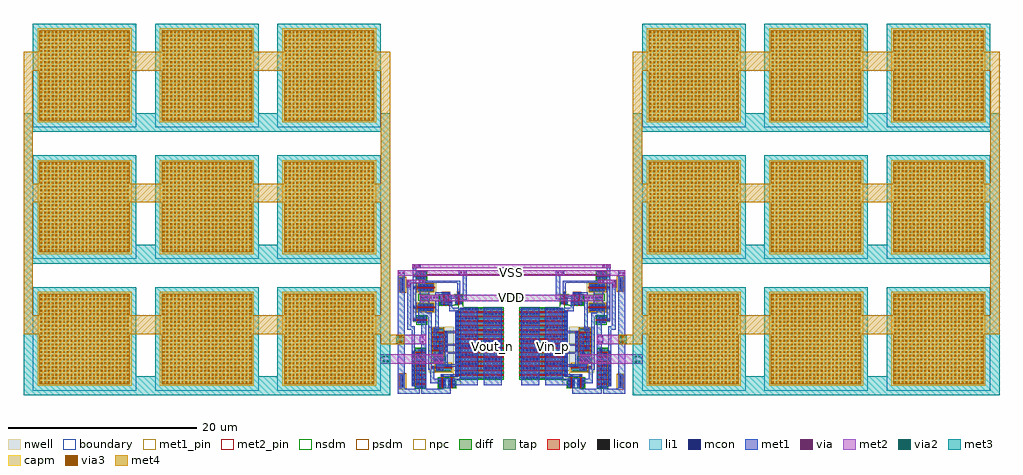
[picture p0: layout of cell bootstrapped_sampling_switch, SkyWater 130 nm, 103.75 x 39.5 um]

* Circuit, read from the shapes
.subckt bootstrapped_sampling_switch Clk VDD VSS Vin_n Vin_p Vout_n Vout_p
XM1 VSS n1 n2 VSS sky130_fd_pr__nfet_01v8 w=0.91 l=0.15 m=8
XM2 n3 Clk n2 VSS sky130_fd_pr__nfet_01v8 w=0.91 l=0.15
XM3 VSS Clk n1 VSS sky130_fd_pr__nfet_01v8 w=0.91 l=0.15
XM4 n2 n4 n3 VSS sky130_fd_pr__nfet_01v8 w=0.91 l=0.15
XM5 n5 VDD n4 VSS sky130_fd_pr__nfet_01v8 w=0.91 l=0.15 m=2
XM6 Vin_n n4 n2 VSS sky130_fd_pr__nfet_01v8 w=0.91 l=0.15
XM7 VSS n1 n5 VSS sky130_fd_pr__nfet_01v8 w=0.91 l=0.15
XM8 Vin_n n4 Vout_n VSS sky130_fd_pr__nfet_01v8 w=4.55 l=0.15 m=15
XM9 Vin_p n6 Vout_p VSS sky130_fd_pr__nfet_01v8 w=4.55 l=0.15 m=15
XM10 n7 n8 VSS VSS sky130_fd_pr__nfet_01v8 w=0.91 l=0.15
XM11 n9 n6 Vin_p VSS sky130_fd_pr__nfet_01v8 w=0.91 l=0.15
XM12 n7 VDD n6 VSS sky130_fd_pr__nfet_01v8 w=0.91 l=0.15 m=2
XM13 n10 n6 n9 VSS sky130_fd_pr__nfet_01v8 w=0.91 l=0.15
XM14 n10 Clk n9 VSS sky130_fd_pr__nfet_01v8 w=0.91 l=0.15
XM15 VSS Clk n8 VSS sky130_fd_pr__nfet_01v8 w=0.91 l=0.15
XM16 VSS n8 n9 VSS sky130_fd_pr__nfet_01v8 w=0.91 l=0.15 m=8
XM17 VDD Clk n3 VDD sky130_fd_pr__pfet_01v8 w=1.61 l=0.15
XM18 n1 Clk VDD VDD sky130_fd_pr__pfet_01v8 w=1.61 l=0.15
XM19 VDD n4 n11 n11 sky130_fd_pr__pfet_01v8 w=1 l=0.15 m=5
XM20 n4 n3 n11 n11 sky130_fd_pr__pfet_01v8 w=1.61 l=0.15
XM21 n6 n10 n12 n12 sky130_fd_pr__pfet_01v8 w=1.61 l=0.15
XM22 VDD n6 n12 n12 sky130_fd_pr__pfet_01v8 w=1 l=0.15 m=5
XM23 VDD Clk n10 VDD sky130_fd_pr__pfet_01v8 w=1.61 l=0.15
XM24 n8 Clk VDD VDD sky130_fd_pr__pfet_01v8 w=1.61 l=0.15
XC25 n2 n11 sky130_fd_pr__cap_mim_m3_1 w=10 l=10 m=9
XC26 n9 n12 sky130_fd_pr__cap_mim_m3_1 w=10 l=10 m=9
.ends

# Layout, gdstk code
from math import pi, radians
import gdstk
lib = gdstk.Library(unit=1e-6, precision=1e-09)
def R(c, l, rs):  # rectangles x0, y0, x1, y1
    for r in rs: c.add(gdstk.rectangle(r[:2], r[2:], *l))
def A(c, l, x, y, w, h, nx, ny, dx, dy):  # array of equal rectangles
    R(c, l, [(x+i*dx, y+j*dy, x+i*dx+w, y+j*dy+h) for i in range(nx) for j in range(ny)])
nwell = (64, 20)
diff = (65, 20)
tap = (65, 44)
poly = (66, 20)
licon = (66, 44)
li1 = (67, 20)
mcon = (67, 44)
met1_pin = (68, 16)
met1 = (68, 20)
via = (68, 44)
met2_pin = (69, 16)
met2 = (69, 20)
via2 = (69, 44)
met3 = (70, 20)
via3 = (70, 44)
met4 = (71, 20)
capm = (89, 44)
nsdm = (93, 44)
psdm = (94, 20)
npc = (95, 20)
boundary = (235, 4)

sky130_fd_pr__pfet_01v8_ = lib.new_cell('sky130_fd_pr__pfet_01v8_SKSN8V')
R(sky130_fd_pr__pfet_01v8_, nwell, [(-0.545,-1.295,0.545,1.125)])
R(sky130_fd_pr__pfet_01v8_, diff, [(-0.365,-0.985,0.365,0.625)])
R(sky130_fd_pr__pfet_01v8_, poly, [(-0.075,-1.115,0.075,0.78), (-0.165,0.78,0.165,1.11)])
A(sky130_fd_pr__pfet_01v8_, licon, -0.305, -0.775, 0.17, 0.17, 1, 4, 0, 0.34)
A(sky130_fd_pr__pfet_01v8_, licon, 0.135, -0.775, 0.17, 0.17, 1, 4, 0, 0.34)
R(sky130_fd_pr__pfet_01v8_, licon, [(-0.085,0.86,0.085,1.03)])
R(sky130_fd_pr__pfet_01v8_, li1, [(-0.305,-1.005,-0.135,0.645), (0.135,-1.005,0.305,0.645), (-0.165,0.86,0.165,1.03)])
R(sky130_fd_pr__pfet_01v8_, mcon, [(-0.305,-0.705,-0.135,-0.535), (0.135,0.17,0.305,0.34), (-0.085,0.86,0.085,1.03)])
R(sky130_fd_pr__pfet_01v8_, met1, [(-0.335,-0.9,-0.105,-0.335), (0.105,-0.025,0.335,0.54), (-0.145,0.83,0.145,1.06)])
R(sky130_fd_pr__pfet_01v8_, psdm, [(-0.49,-1.11,0.49,0.75)])
R(sky130_fd_pr__pfet_01v8_, npc, [(-0.185,0.76,0.185,1.13)])

c_sky130_fd_pr__pfet_01v8_ = lib.new_cell('sky130_fd_pr__pfet_01v8_RQ978N')
R(c_sky130_fd_pr__pfet_01v8_, nwell, [(-1.525,-1,1.525,0.8)])
R(c_sky130_fd_pr__pfet_01v8_, diff, [(-1.345,-0.5,1.345,0.5)])
A(c_sky130_fd_pr__pfet_01v8_, poly, -1.035, -0.65, 0.15, 1.3, 5, 1, 0.48, 0)
R(c_sky130_fd_pr__pfet_01v8_, poly, [(-1.125,-0.985,1.125,-0.65)])
A(c_sky130_fd_pr__pfet_01v8_, licon, -1.285, -0.425, 0.17, 0.17, 6, 3, 0.48, 0.34)
R(c_sky130_fd_pr__pfet_01v8_, licon, [(-1.045,-0.905,-0.875,-0.735), (-0.555,-0.905,-0.385,-0.735), (-0.085,-0.905,0.085,-0.735), (0.425,-0.905,0.595,-0.735), (0.875,-0.905,1.045,-0.735)])
A(c_sky130_fd_pr__pfet_01v8_, li1, -1.285, -0.52, 0.17, 1.04, 6, 1, 0.48, 0)
R(c_sky130_fd_pr__pfet_01v8_, li1, [(-1.125,-0.905,1.125,-0.735)])
A(c_sky130_fd_pr__pfet_01v8_, mcon, -0.805, -0.31, 0.17, 0.17, 3, 1, 0.96, 0)
A(c_sky130_fd_pr__pfet_01v8_, mcon, -1.285, 0.135, 0.17, 0.17, 3, 1, 0.96, 0)
R(c_sky130_fd_pr__pfet_01v8_, mcon, [(-1.045,-0.905,-0.875,-0.735), (-0.555,-0.905,-0.385,-0.735), (-0.085,-0.905,0.085,-0.735), (0.425,-0.905,0.595,-0.735), (0.875,-0.905,1.045,-0.735)])
A(c_sky130_fd_pr__pfet_01v8_, met1, -0.835, -0.415, 0.23, 0.385, 3, 1, 0.96, 0)
A(c_sky130_fd_pr__pfet_01v8_, met1, -1.315, 0.03, 0.23, 0.385, 3, 1, 0.96, 0)
R(c_sky130_fd_pr__pfet_01v8_, met1, [(-1.105,-0.935,1.105,-0.705)])
R(c_sky130_fd_pr__pfet_01v8_, psdm, [(-1.47,-0.625,1.47,0.625)])
R(c_sky130_fd_pr__pfet_01v8_, npc, [(-1.145,-1.005,1.145,-0.635)])

c_sky130_fd_pr__pfet_01v8__ = lib.new_cell('sky130_fd_pr__pfet_01v8_E9NJWS')
R(c_sky130_fd_pr__pfet_01v8__, nwell, [(-0.545,-1.125,0.545,1.295)])
R(c_sky130_fd_pr__pfet_01v8__, diff, [(-0.365,-0.625,0.365,0.985)])
R(c_sky130_fd_pr__pfet_01v8__, poly, [(-0.165,-1.11,0.165,-0.78), (-0.075,-0.78,0.075,1.115)])
A(c_sky130_fd_pr__pfet_01v8__, licon, -0.305, -0.415, 0.17, 0.17, 1, 4, 0, 0.34)
A(c_sky130_fd_pr__pfet_01v8__, licon, 0.135, -0.415, 0.17, 0.17, 1, 4, 0, 0.34)
R(c_sky130_fd_pr__pfet_01v8__, licon, [(-0.085,-1.03,0.085,-0.86)])
R(c_sky130_fd_pr__pfet_01v8__, li1, [(-0.165,-1.03,0.165,-0.86), (-0.305,-0.645,-0.135,1.005), (0.135,-0.645,0.305,1.005)])
A(c_sky130_fd_pr__pfet_01v8__, mcon, -0.305, -0.445, 0.17, 0.17, 1, 4, 0, 0.36)
A(c_sky130_fd_pr__pfet_01v8__, mcon, 0.135, -0.445, 0.17, 0.17, 1, 4, 0, 0.36)
R(c_sky130_fd_pr__pfet_01v8__, mcon, [(-0.085,-1.03,0.085,-0.86)])
R(c_sky130_fd_pr__pfet_01v8__, met1, [(-0.145,-1.06,0.145,-0.83), (-0.335,-0.625,-0.105,0.985), (0.105,-0.625,0.335,0.985)])
R(c_sky130_fd_pr__pfet_01v8__, psdm, [(-0.49,-0.75,0.49,1.11)])
R(c_sky130_fd_pr__pfet_01v8__, npc, [(-0.185,-1.13,0.185,-0.76)])

sky130_fd_pr__nfet_01v8_ = lib.new_cell('sky130_fd_pr__nfet_01v8_ZWFJZ8')
R(sky130_fd_pr__nfet_01v8_, diff, [(-0.625,-0.455,0.625,0.455)])
R(sky130_fd_pr__nfet_01v8_, poly, [(-0.425,-0.895,0.475,-0.565), (-0.315,-0.565,-0.165,0.605), (0.165,-0.565,0.315,0.605)])
A(sky130_fd_pr__nfet_01v8_, licon, -0.565, -0.255, 0.17, 0.17, 3, 2, 0.48, 0.34)
R(sky130_fd_pr__nfet_01v8_, licon, [(-0.325,-0.815,-0.155,-0.645), (0.125,-0.815,0.295,-0.645)])
A(sky130_fd_pr__nfet_01v8_, li1, -0.565, -0.475, 0.17, 0.95, 3, 1, 0.48, 0)
R(sky130_fd_pr__nfet_01v8_, li1, [(-0.425,-0.815,0.475,-0.645)])
R(sky130_fd_pr__nfet_01v8_, mcon, [(-0.325,-0.815,-0.155,-0.645), (0.125,-0.815,0.295,-0.645), (-0.085,-0.28,0.085,-0.11), (-0.565,0.105,-0.395,0.275), (0.395,0.105,0.565,0.275)])
R(sky130_fd_pr__nfet_01v8_, met1, [(-0.425,-0.845,0.475,-0.615), (-0.115,-0.37,0.115,-0.015), (-0.595,0.015,-0.365,0.37), (0.365,0.015,0.595,0.37)])
R(sky130_fd_pr__nfet_01v8_, nsdm, [(-0.75,-0.58,0.75,0.58)])
R(sky130_fd_pr__nfet_01v8_, npc, [(-0.425,-0.915,0.395,-0.545)])

c_sky130_fd_pr__nfet_01v8_ = lib.new_cell('sky130_fd_pr__nfet_01v8_P7BBP7')
R(c_sky130_fd_pr__nfet_01v8_, diff, [(-3.745,-2.275,3.745,2.275)])
A(c_sky130_fd_pr__nfet_01v8_, poly, -3.435, -2.38, 0.15, 4.8, 15, 1, 0.48, 0)
R(c_sky130_fd_pr__nfet_01v8_, poly, [(-3.54,-2.715,3.525,-2.38)])
A(c_sky130_fd_pr__nfet_01v8_, licon, -3.685, -2.125, 0.17, 0.17, 16, 13, 0.48, 0.34)
R(c_sky130_fd_pr__nfet_01v8_, licon, [(-3.445,-2.635,-3.275,-2.465), (-2.97,-2.635,-2.8,-2.465), (-2.485,-2.635,-2.315,-2.465), (-1.97,-2.635,-1.8,-2.465), (-1.525,-2.635,-1.355,-2.465), (-1.02,-2.635,-0.85,-2.465), (-0.565,-2.635,-0.395,-2.465), (-0.07,-2.635,0.1,-2.465), (0.395,-2.635,0.565,-2.465), (0.88,-2.635,1.05,-2.465), (1.355,-2.635,1.525,-2.465), (1.875,-2.635,2.045,-2.465), (2.315,-2.635,2.485,-2.465), (2.825,-2.635,2.995,-2.465), (3.275,-2.635,3.445,-2.465)])
A(c_sky130_fd_pr__nfet_01v8_, li1, -3.685, -2.295, 0.17, 4.59, 16, 1, 0.48, 0)
R(c_sky130_fd_pr__nfet_01v8_, li1, [(-3.54,-2.635,3.525,-2.465)])
A(c_sky130_fd_pr__nfet_01v8_, mcon, -3.685, -2.05, 0.17, 0.17, 8, 5, 0.96, 0.36)
A(c_sky130_fd_pr__nfet_01v8_, mcon, -3.205, 0.44, 0.17, 0.17, 8, 5, 0.96, 0.36)
R(c_sky130_fd_pr__nfet_01v8_, mcon, [(-3.445,-2.635,-3.275,-2.465), (-2.97,-2.635,-2.8,-2.465), (-2.485,-2.635,-2.315,-2.465), (-1.97,-2.635,-1.8,-2.465), (-1.525,-2.635,-1.355,-2.465), (-1.02,-2.635,-0.85,-2.465), (-0.565,-2.635,-0.395,-2.465), (-0.07,-2.635,0.1,-2.465), (0.395,-2.635,0.565,-2.465), (0.88,-2.635,1.05,-2.465), (1.355,-2.635,1.525,-2.465), (1.875,-2.635,2.045,-2.465), (2.315,-2.635,2.485,-2.465), (2.825,-2.635,2.995,-2.465), (3.275,-2.635,3.445,-2.465)])
A(c_sky130_fd_pr__nfet_01v8_, met1, -3.715, -2.19, 0.23, 1.89, 8, 1, 0.96, 0)
A(c_sky130_fd_pr__nfet_01v8_, met1, -3.235, 0.3, 0.23, 1.89, 8, 1, 0.96, 0)
R(c_sky130_fd_pr__nfet_01v8_, met1, [(-3.54,-2.665,3.505,-2.435)])
R(c_sky130_fd_pr__nfet_01v8_, nsdm, [(-3.87,-2.4,3.87,2.4)])
R(c_sky130_fd_pr__nfet_01v8_, npc, [(-3.545,-2.735,3.545,-2.365)])

c_sky130_fd_pr__nfet_01v8__ = lib.new_cell('sky130_fd_pr__nfet_01v8_MRUJZ4')
R(c_sky130_fd_pr__nfet_01v8__, diff, [(-2.065,-0.455,2.065,0.455)])
A(c_sky130_fd_pr__nfet_01v8__, poly, -1.755, -0.565, 0.15, 1.17, 8, 1, 0.48, 0)
R(c_sky130_fd_pr__nfet_01v8__, poly, [(-1.885,-0.895,1.915,-0.565)])
A(c_sky130_fd_pr__nfet_01v8__, licon, -1.765, -0.815, 0.17, 0.17, 3, 1, 0.48, 0)
A(c_sky130_fd_pr__nfet_01v8__, licon, -2.005, -0.255, 0.17, 0.17, 9, 2, 0.48, 0.34)
R(c_sky130_fd_pr__nfet_01v8__, licon, [(-0.335,-0.815,-0.165,-0.645), (0.155,-0.815,0.325,-0.645), (0.615,-0.815,0.785,-0.645), (1.115,-0.815,1.285,-0.645), (1.565,-0.815,1.735,-0.645)])
A(c_sky130_fd_pr__nfet_01v8__, li1, -2.005, -0.475, 0.17, 0.95, 9, 1, 0.48, 0)
R(c_sky130_fd_pr__nfet_01v8__, li1, [(-1.885,-0.815,1.915,-0.645)])
A(c_sky130_fd_pr__nfet_01v8__, mcon, -1.765, -0.815, 0.17, 0.17, 3, 1, 0.48, 0)
A(c_sky130_fd_pr__nfet_01v8__, mcon, -1.525, -0.295, 0.17, 0.17, 4, 1, 0.96, 0)
A(c_sky130_fd_pr__nfet_01v8__, mcon, -2.005, 0.125, 0.17, 0.17, 5, 1, 0.96, 0)
R(c_sky130_fd_pr__nfet_01v8__, mcon, [(-0.335,-0.815,-0.165,-0.645), (0.155,-0.815,0.325,-0.645), (0.615,-0.815,0.785,-0.645), (1.115,-0.815,1.285,-0.645), (1.565,-0.815,1.735,-0.645)])
A(c_sky130_fd_pr__nfet_01v8__, met1, -1.555, -0.37, 0.23, 0.32, 4, 1, 0.96, 0)
A(c_sky130_fd_pr__nfet_01v8__, met1, -2.035, 0.05, 0.23, 0.32, 5, 1, 0.96, 0)
R(c_sky130_fd_pr__nfet_01v8__, met1, [(-1.885,-0.845,1.915,-0.615)])
R(c_sky130_fd_pr__nfet_01v8__, nsdm, [(-2.19,-0.58,2.19,0.58)])
R(c_sky130_fd_pr__nfet_01v8__, npc, [(-1.865,-0.915,1.835,-0.545)])

c_sky130_fd_pr__nfet_01v8___ = lib.new_cell('sky130_fd_pr__nfet_01v8_9CME3F')
R(c_sky130_fd_pr__nfet_01v8___, diff, [(-0.365,-0.61,0.365,0.3)])
R(c_sky130_fd_pr__nfet_01v8___, poly, [(-0.075,-0.74,0.075,0.41), (-0.165,0.41,0.165,0.74)])
R(c_sky130_fd_pr__nfet_01v8___, licon, [(-0.305,-0.41,-0.135,-0.24), (0.135,-0.41,0.305,-0.24), (-0.305,-0.07,-0.135,0.1), (0.135,-0.07,0.305,0.1), (-0.085,0.49,0.085,0.66)])
R(c_sky130_fd_pr__nfet_01v8___, li1, [(-0.305,-0.63,-0.135,0.32), (0.135,-0.63,0.305,0.32), (-0.165,0.49,0.165,0.66)])
R(c_sky130_fd_pr__nfet_01v8___, mcon, [(-0.305,-0.42,-0.135,-0.25), (0.135,-0.42,0.305,-0.25), (-0.305,-0.06,-0.135,0.11), (0.135,-0.06,0.305,0.11), (-0.085,0.49,0.085,0.66)])
R(c_sky130_fd_pr__nfet_01v8___, met1, [(-0.335,-0.61,-0.105,0.3), (0.105,-0.61,0.335,0.3), (-0.145,0.46,0.145,0.69)])
R(c_sky130_fd_pr__nfet_01v8___, nsdm, [(-0.49,-0.735,0.49,0.425)])
R(c_sky130_fd_pr__nfet_01v8___, npc, [(-0.185,0.39,0.185,0.76)])

c_sky130_fd_pr__nfet_01v8____ = lib.new_cell('sky130_fd_pr__nfet_01v8_9CGS2F')
R(c_sky130_fd_pr__nfet_01v8____, diff, [(-0.365,-0.3,0.365,0.61)])
R(c_sky130_fd_pr__nfet_01v8____, poly, [(-0.165,-0.74,0.165,-0.41), (-0.075,-0.41,0.075,0.74)])
R(c_sky130_fd_pr__nfet_01v8____, licon, [(-0.085,-0.66,0.085,-0.49), (-0.305,-0.1,-0.135,0.07), (0.135,-0.1,0.305,0.07), (-0.305,0.24,-0.135,0.41), (0.135,0.24,0.305,0.41)])
R(c_sky130_fd_pr__nfet_01v8____, li1, [(-0.165,-0.66,0.165,-0.49), (-0.305,-0.32,-0.135,0.63), (0.135,-0.32,0.305,0.63)])
R(c_sky130_fd_pr__nfet_01v8____, mcon, [(-0.085,-0.66,0.085,-0.49), (-0.305,-0.11,-0.135,0.06), (0.135,-0.11,0.305,0.06), (-0.305,0.25,-0.135,0.42), (0.135,0.25,0.305,0.42)])
R(c_sky130_fd_pr__nfet_01v8____, met1, [(-0.145,-0.69,0.145,-0.46), (-0.335,-0.3,-0.105,0.61), (0.105,-0.3,0.335,0.61)])
R(c_sky130_fd_pr__nfet_01v8____, nsdm, [(-0.49,-0.425,0.49,0.735)])
R(c_sky130_fd_pr__nfet_01v8____, npc, [(-0.185,-0.76,0.185,-0.39)])

sky130_fd_pr__cap_mim_m3 = lib.new_cell('sky130_fd_pr__cap_mim_m3_1_6ZNTNB')
R(sky130_fd_pr__cap_mim_m3, met3, [(-5.75,-5.5,5.745,5.5)])
A(sky130_fd_pr__cap_mim_m3, via3, -4.95, -4.7, 0.2, 0.2, 24, 24, 0.4, 0.4)
R(sky130_fd_pr__cap_mim_m3, met4, [(-5.055,-4.805,4.555,4.805)])
R(sky130_fd_pr__cap_mim_m3, capm, [(-5.25,-5,4.75,5)])
R(sky130_fd_pr__cap_mim_m3, boundary, [(-5.75,-5.5,5.25,5.5)])

bootstrapped_sampling_sw = lib.new_cell('bootstrapped_sampling_switch')
R(bootstrapped_sampling_sw, nwell, [(25.1,-23.1,27.75,-18.2), (40,-23.1,42.65,-18.2), (23.45,-16.7,25.9,-13.5), (41.85,-16.7,44.3,-13.5)])
R(bootstrapped_sampling_sw, tap, [(45.2,-24.77,45.7,-23.33), (22.05,-24.72,22.55,-23.28), (25.4,-21.9,26.75,-21.5), (41,-21.9,42.35,-21.5), (24.1,-15.35,25.05,-14.85), (42.7,-15.35,43.65,-14.85), (22.05,-14.47,22.55,-13.03), (45.2,-14.37,45.7,-12.93)])
A(bootstrapped_sampling_sw, licon, 45.365, -24.645, 0.17, 0.17, 1, 4, 0, 0.34)
A(bootstrapped_sampling_sw, licon, 22.215, -24.595, 0.17, 0.17, 1, 4, 0, 0.34)
A(bootstrapped_sampling_sw, licon, 25.65, -21.785, 0.17, 0.17, 3, 1, 0.34, 0)
A(bootstrapped_sampling_sw, licon, 41.25, -21.785, 0.17, 0.17, 3, 1, 0.34, 0)
A(bootstrapped_sampling_sw, licon, 22.215, -14.345, 0.17, 0.17, 1, 4, 0, 0.34)
A(bootstrapped_sampling_sw, licon, 45.365, -14.245, 0.17, 0.17, 1, 4, 0, 0.34)
R(bootstrapped_sampling_sw, licon, [(24.32,-15.185,24.49,-15.015), (24.66,-15.185,24.83,-15.015), (42.92,-15.185,43.09,-15.015), (43.26,-15.185,43.43,-15.015)])
R(bootstrapped_sampling_sw, li1, [(45.2,-24.73,45.7,-23.37), (22.05,-24.68,22.55,-23.32), (25.45,-21.9,26.7,-21.5), (41.05,-21.9,42.3,-21.5), (24.15,-15.35,25,-14.85), (42.75,-15.35,43.6,-14.85), (22.05,-14.43,22.55,-13.07), (45.2,-14.33,45.7,-12.97)])
A(bootstrapped_sampling_sw, mcon, 45.365, -24.495, 0.17, 0.17, 1, 3, 0, 0.36)
A(bootstrapped_sampling_sw, mcon, 22.215, -24.445, 0.17, 0.17, 1, 3, 0, 0.36)
A(bootstrapped_sampling_sw, mcon, 22.215, -14.195, 0.17, 0.17, 1, 3, 0, 0.36)
A(bootstrapped_sampling_sw, mcon, 45.365, -14.095, 0.17, 0.17, 1, 3, 0, 0.36)
R(bootstrapped_sampling_sw, mcon, [(25.81,-21.785,25.98,-21.615), (26.17,-21.785,26.34,-21.615), (41.41,-21.785,41.58,-21.615), (41.77,-21.785,41.94,-21.615), (24.31,-15.185,24.48,-15.015), (24.67,-15.185,24.84,-15.015), (42.91,-15.185,43.08,-15.015), (43.27,-15.185,43.44,-15.015)])
R(bootstrapped_sampling_sw, met1_pin, [(28.45,-24.45,30.3,-16.2), (30.9,-24.45,32.85,-16.2), (34.9,-24.45,36.85,-16.2), (37.45,-24.45,39.3,-16.2)])
R(bootstrapped_sampling_sw, met1, [(21.8,-25.35,24.1,-24.8), (24.3,-25.35,27.4,-24.8), (40.35,-25.35,43.45,-24.8), (43.65,-25.35,45.95,-24.8), (21.8,-24.8,22.55,-12.2), (23.75,-24.8,24.1,-21.05), (24.3,-24.8,24.8,-20.05), (26.65,-24.8,27.4,-23.7), (40.35,-24.8,41.1,-23.7), (42.95,-24.8,43.45,-20.05), (43.65,-24.8,44,-21.05), (45.2,-24.8,45.95,-12.2), (23.25,-24.55,23.6,-18.55), (44.15,-24.55,44.5,-18.55), (27.6,-24.45,30.3,-23.75), (30.9,-24.45,32.85,-16.2), (34.9,-24.45,36.85,-16.2), (37.45,-24.45,40.15,-23.75), (25.25,-24.2,26.4,-23.75), (41.35,-24.2,42.5,-23.75), (25.25,-23.75,25.65,-22.8), (28.45,-23.75,30.3,-16.2), (37.45,-23.75,39.3,-16.2), (42.1,-23.75,42.5,-22.8), (26.35,-23.55,28.25,-23.25), (39.5,-23.55,41.4,-23.25), (27.9,-23.25,28.25,-22.45), (39.5,-23.25,39.85,-22.45), (25.9,-22.9,26.6,-22.15), (41.15,-22.9,41.85,-22.15), (25.05,-22.8,25.65,-22.35), (42.1,-22.8,42.7,-22.35), (26.8,-22.45,28.25,-22.2), (39.5,-22.45,40.95,-22.2), (25.05,-22.35,25.4,-17.1), (42.35,-22.35,42.7,-17.1), (26.8,-22.2,27.1,-21.1), (27.9,-22.2,28.25,-21.1), (39.5,-22.2,39.85,-21.1), (40.65,-22.2,40.95,-21.1), (25.55,-22.15,26.6,-21.15), (41.15,-22.15,42.2,-21.15), (26.1,-21.15,26.6,-21.05), (41.15,-21.15,41.65,-21.05), (26.8,-21.1,28.25,-20.85), (39.5,-21.1,40.95,-20.85), (26.21,-21.05,26.6,-18.95), (41.15,-21.05,41.54,-18.95), (26.8,-20.85,27.1,-20.25), (27.9,-20.85,28.25,-20.25), (39.5,-20.85,39.85,-20.25), (40.65,-20.85,40.95,-20.25), (25.6,-20.6,25.95,-18.65), (41.8,-20.6,42.15,-18.65), (26.8,-20.25,28.25,-20), (39.5,-20.25,40.95,-20), (24.1,-20.05,24.8,-19.05), (42.95,-20.05,43.65,-19.05), (26.8,-20,27.1,-18.9), (27.9,-20,28.25,-18.9), (39.5,-20,39.85,-18.9), (40.65,-20,40.95,-18.9), (24.3,-19.05,24.8,-17.6), (42.95,-19.05,43.45,-17.6), (26.8,-18.9,28.25,-18.65), (39.5,-18.9,40.95,-18.65), (25.6,-18.65,26.15,-18.3), (27.9,-18.65,28.25,-16.55), (39.5,-18.65,39.85,-16.55), (41.6,-18.65,42.15,-18.3), (22.8,-18.55,23.6,-18.15), (44.15,-18.55,44.95,-18.15), (25.75,-18.3,26.15,-15.5), (41.6,-18.3,42,-15.5), (22.8,-18.15,23.2,-13.2), (44.55,-18.15,44.95,-13.2), (23.4,-17.65,23.75,-12), (44,-17.65,44.35,-12), (23.95,-17.4,24.8,-17.1), (42.95,-17.4,43.8,-17.1), (23.95,-17.1,25.4,-16.75), (42.35,-17.1,43.8,-16.75), (23.95,-16.75,24.8,-16.3), (42.95,-16.75,43.8,-16.3), (27.25,-16.55,28.25,-16.2), (39.5,-16.55,40.5,-16.2), (27.25,-16.2,27.6,-15.9), (40.15,-16.2,40.5,-15.9), (24.1,-16.05,25.15,-15.5), (42.6,-16.05,43.65,-15.5), (26.35,-15.9,27.6,-15.55), (40.15,-15.9,41.4,-15.55), (24.1,-15.5,26.15,-14.8), (41.6,-15.5,43.65,-14.8), (26.8,-15.35,27.1,-15.25), (28.4,-15.35,29.1,-14.9), (40.65,-15.35,40.95,-15.25), (38.6,-15.3,39.35,-14.9), (26.8,-15.25,28.15,-14.95), (39.6,-15.25,40.95,-14.95), (28.7,-14.9,29.1,-12.8), (38.6,-14.9,39.05,-12.8), (24.1,-14.8,25.15,-14.15), (25.75,-14.8,27.35,-14.55), (40.4,-14.8,42,-14.55), (42.6,-14.8,43.65,-14.15), (28.1,-14.75,28.45,-13.55), (39.3,-14.75,39.65,-13.55), (24,-13.95,24.7,-13.55), (43.05,-13.95,43.75,-13.55), (24,-13.55,28.45,-13.3), (39.3,-13.55,43.75,-13.3), (24,-13.3,24.7,-12.9), (43.05,-13.3,43.75,-12.9), (28.25,-12.8,29.1,-12.2), (38.6,-12.8,39.5,-12.2), (23.9,-12.7,24.8,-12.3), (42.95,-12.7,43.85,-12.3), (23.35,-12,24.25,-11.55), (43.5,-12,44.4,-11.55)])
A(bootstrapped_sampling_sw, via, 25.68, -22, 0.15, 0.15, 3, 2, 0.32, 0.55)
A(bootstrapped_sampling_sw, via, 41.28, -22, 0.15, 0.15, 3, 2, 0.32, 0.55)
A(bootstrapped_sampling_sw, via, 24.205, -15.2, 0.15, 0.15, 3, 1, 0.32, 0)
A(bootstrapped_sampling_sw, via, 25.255, -15.2, 0.15, 0.15, 3, 1, 0.32, 0)
A(bootstrapped_sampling_sw, via, 41.705, -15.2, 0.15, 0.15, 3, 1, 0.32, 0)
A(bootstrapped_sampling_sw, via, 42.755, -15.2, 0.15, 0.15, 3, 1, 0.32, 0)
R(bootstrapped_sampling_sw, via, [(24.35,-19.9,24.5,-19.75), (43.065,-19.9,43.215,-19.75), (43.385,-19.9,43.535,-19.75), (24.35,-19.35,24.5,-19.2), (43.065,-19.35,43.215,-19.2), (43.385,-19.35,43.535,-19.2), (22.855,-13.875,23.005,-13.725), (44.745,-13.875,44.895,-13.725), (22.855,-13.475,23.005,-13.325), (24.09,-13.475,24.24,-13.325), (24.41,-13.475,24.56,-13.325), (43.19,-13.475,43.34,-13.325), (43.51,-13.475,43.66,-13.325), (44.745,-13.475,44.895,-13.325), (21.875,-12.575,22.025,-12.425), (22.325,-12.575,22.475,-12.425), (24.115,-12.575,24.265,-12.425), (24.435,-12.575,24.585,-12.425), (43.165,-12.575,43.315,-12.425), (43.485,-12.575,43.635,-12.425), (45.275,-12.575,45.425,-12.425), (45.725,-12.575,45.875,-12.425), (28.425,-12.525,28.575,-12.375), (28.825,-12.525,28.975,-12.375), (38.75,-12.525,38.9,-12.375), (39.2,-12.525,39.35,-12.375), (23.5,-11.85,23.65,-11.7), (23.95,-11.85,24.1,-11.7), (43.65,-11.85,43.8,-11.7), (44.1,-11.85,44.25,-11.7)])
R(bootstrapped_sampling_sw, met2_pin, [(26.1,-15.5,41.65,-14.8), (24.75,-12.7,43,-12.2), (23.75,-12,44,-11.55)])
R(bootstrapped_sampling_sw, met2, [(19.95,-22.15,26.6,-21.15), (41.15,-22.15,47.8,-21.15), (21.65,-20.05,24.8,-19.05), (42.95,-20.05,46.1,-19.05), (24.1,-15.5,43.65,-14.8), (22.75,-14,23.1,-13.6), (44.65,-14,45,-13.6), (22.75,-13.6,24.7,-13.2), (43.05,-13.6,45,-13.2), (21.8,-12.8,45.95,-12.2), (23.35,-12,44.4,-11.55)])
R(bootstrapped_sampling_sw, via2, [(46.975,-22.025,47.175,-21.825), (47.375,-22.025,47.575,-21.825), (20.2,-22,20.4,-21.8), (20.6,-22,20.8,-21.8), (20.2,-21.475,20.4,-21.275), (20.6,-21.475,20.8,-21.275), (46.975,-21.475,47.175,-21.275), (47.375,-21.475,47.575,-21.275), (21.75,-19.925,21.95,-19.725), (22.15,-19.925,22.35,-19.725), (45.4,-19.925,45.6,-19.725), (45.8,-19.925,46,-19.725), (21.75,-19.375,21.95,-19.175), (22.15,-19.375,22.35,-19.175), (45.4,-19.375,45.6,-19.175), (45.8,-19.375,46,-19.175)])
A(bootstrapped_sampling_sw, met3, -18, -25.5, 39, 2, 1, 3, 0, 14)
A(bootstrapped_sampling_sw, met3, 46.75, -25.5, 39, 2, 1, 3, 0, 14)
R(bootstrapped_sampling_sw, met3, [(-18,-23.5,-17,-11.5), (20,-23.5,21,-11.5), (46.75,-23.5,47.75,-11.5), (84.75,-23.5,85.75,-11.5), (21.65,-20.05,22.45,-19.05), (45.3,-20.05,46.1,-19.05), (-18,-9.5,-17,2.5), (20,-9.5,21,2.5), (46.75,-9.5,47.75,2.5), (84.75,-9.5,85.75,2.5)])
R(bootstrapped_sampling_sw, via3, [(21.95,-19.925,22.15,-19.725), (45.6,-19.925,45.8,-19.725), (21.95,-19.375,22.15,-19.175), (45.6,-19.375,45.8,-19.175)])
A(bootstrapped_sampling_sw, met4, -18, -19, 39, 2, 1, 3, 0, 14)
A(bootstrapped_sampling_sw, met4, 46.75, -19, 39, 2, 1, 3, 0, 14)
R(bootstrapped_sampling_sw, met4, [(20,-20.05,22.45,-19.05), (45.3,-20.05,47.75,-19.05), (20,-19.05,21,-19), (46.75,-19.05,47.75,-19), (-18,-17,-17,-5), (20,-17,21,-5), (46.75,-17,47.75,-5), (84.75,-17,85.75,-5), (-18,-3,-17,9), (20,-3,21,9), (46.75,-3,47.75,9), (84.75,-3,85.75,9)])
R(bootstrapped_sampling_sw, nsdm, [(27.005,-24.745,27.025,-23.585), (40.725,-24.745,40.745,-23.585), (28.005,-23.915,28.425,-23.86), (39.325,-23.915,39.745,-23.86), (28.005,-23.86,28.23,-23.585), (39.52,-23.86,39.745,-23.585), (27.81,-23.585,28.23,-23.53), (39.52,-23.585,39.94,-23.53), (25.275,-22.025,26.875,-21.375), (40.875,-22.025,42.475,-21.375), (28.23,-16.12,28.755,-15.945), (38.995,-16.12,39.52,-15.945), (27.675,-15.945,27.775,-14.815), (39.975,-15.945,40.075,-14.815), (23.975,-15.475,25.175,-14.725), (42.575,-15.475,43.775,-14.725)])
R(bootstrapped_sampling_sw, psdm, [(45.075,-24.895,45.825,-23.205), (21.925,-24.845,22.675,-23.155), (21.925,-14.595,22.675,-12.905), (45.075,-14.495,45.825,-12.805)])
R(bootstrapped_sampling_sw, npc, [(27.7,-23.535,27.895,-23.25), (39.855,-23.535,40.05,-23.25), (27.66,-23.25,27.895,-22.815), (39.855,-23.25,40.09,-22.815)])
bootstrapped_sampling_sw.add(gdstk.Reference(sky130_fd_pr__pfet_01v8_, (41.295,-22.555), rotation=3*pi/2))
bootstrapped_sampling_sw.add(gdstk.Reference(c_sky130_fd_pr__pfet_01v8_, (41.65,-19.775), rotation=3*pi/2))
bootstrapped_sampling_sw.add(gdstk.Reference(c_sky130_fd_pr__pfet_01v8_, (26.1,-19.775), rotation=3*pi/2, x_reflection=True))
bootstrapped_sampling_sw.add(gdstk.Reference(c_sky130_fd_pr__pfet_01v8__, (43.175,-16.155), rotation=pi/2))
bootstrapped_sampling_sw.add(gdstk.Reference(c_sky130_fd_pr__pfet_01v8__, (43.175,-14.055), rotation=3*pi/2, x_reflection=True))
bootstrapped_sampling_sw.add(gdstk.Reference(c_sky130_fd_pr__pfet_01v8__, (24.575,-14.055), rotation=3*pi/2))
bootstrapped_sampling_sw.add(gdstk.Reference(sky130_fd_pr__nfet_01v8_, (40.825,-15.395), x_reflection=True))
bootstrapped_sampling_sw.add(gdstk.Reference(c_sky130_fd_pr__nfet_01v8_, (37.12,-19.99), rotation=3*pi/2, x_reflection=True))
bootstrapped_sampling_sw.add(gdstk.Reference(c_sky130_fd_pr__nfet_01v8__, (43.555,-22.635), rotation=3*pi/2, x_reflection=True))
bootstrapped_sampling_sw.add(gdstk.Reference(c_sky130_fd_pr__nfet_01v8___, (41.235,-24.01), rotation=pi, x_reflection=True))
bootstrapped_sampling_sw.add(gdstk.Reference(c_sky130_fd_pr__nfet_01v8___, (39.485,-15.21), rotation=pi, x_reflection=True))
bootstrapped_sampling_sw.add(gdstk.Reference(c_sky130_fd_pr__nfet_01v8___, (28.265,-15.21)))
bootstrapped_sampling_sw.add(gdstk.Reference(c_sky130_fd_pr__nfet_01v8___, (26.515,-24.01)))
bootstrapped_sampling_sw.add(gdstk.Reference(c_sky130_fd_pr__nfet_01v8____, (43.56,-17.485), rotation=3*pi/2, x_reflection=True))
bootstrapped_sampling_sw.add(gdstk.Reference(c_sky130_fd_pr__nfet_01v8____, (40.235,-24.01), x_reflection=True))
bootstrapped_sampling_sw.add(gdstk.Reference(c_sky130_fd_pr__nfet_01v8____, (43.56,-12.785), rotation=3*pi/2, x_reflection=True))
bootstrapped_sampling_sw.add(gdstk.Reference(c_sky130_fd_pr__nfet_01v8____, (24.19,-12.785), rotation=3*pi/2))
bootstrapped_sampling_sw.add(gdstk.Reference(c_sky130_fd_pr__nfet_01v8____, (24.19,-17.485), rotation=3*pi/2))
bootstrapped_sampling_sw.add(gdstk.Reference(c_sky130_fd_pr__nfet_01v8____, (27.515,-24.01), rotation=pi))
r = gdstk.Reference(sky130_fd_pr__cap_mim_m3, (79.25,8.25), rotation=3*pi/2, x_reflection=True); r.repetition = gdstk.Repetition(3, 3, v1=(0,-14), v2=(-13,0)); bootstrapped_sampling_sw.add(r)
r = gdstk.Reference(sky130_fd_pr__cap_mim_m3, (-11.5,8.25), rotation=3*pi/2); r.repetition = gdstk.Repetition(3, 3, v1=(0,-14), v2=(13,0)); bootstrapped_sampling_sw.add(r)
bootstrapped_sampling_sw.add(gdstk.Reference(sky130_fd_pr__nfet_01v8_, (26.925,-15.395), rotation=pi))
bootstrapped_sampling_sw.add(gdstk.Reference(c_sky130_fd_pr__nfet_01v8_, (30.63,-19.99), rotation=3*pi/2))
bootstrapped_sampling_sw.add(gdstk.Reference(sky130_fd_pr__pfet_01v8_, (26.455,-22.555), rotation=3*pi/2, x_reflection=True))
bootstrapped_sampling_sw.add(gdstk.Reference(c_sky130_fd_pr__pfet_01v8__, (24.575,-16.155), rotation=pi/2, x_reflection=True))
bootstrapped_sampling_sw.add(gdstk.Reference(c_sky130_fd_pr__nfet_01v8__, (24.195,-22.635), rotation=3*pi/2))
bootstrapped_sampling_sw.add(gdstk.Label('VDD', (33.875,-15.15), layer=69, texttype=16))
bootstrapped_sampling_sw.add(gdstk.Label('Vin_p', (38.375,-20.325), layer=68, texttype=16))
bootstrapped_sampling_sw.add(gdstk.Label('Vout_p', (35.875,-20.325), layer=68, texttype=16))
bootstrapped_sampling_sw.add(gdstk.Label('VSS', (33.875,-12.45), layer=69, texttype=16))
bootstrapped_sampling_sw.add(gdstk.Label('Vout_n', (31.875,-20.325), layer=68, texttype=16))
bootstrapped_sampling_sw.add(gdstk.Label('Vin_n', (29.375,-20.325), layer=68, texttype=16))
bootstrapped_sampling_sw.add(gdstk.Label('Clk', (33.875,-11.775), layer=69, texttype=16))

lib.write_gds('bootstrapped_sampling_switch.gds')
